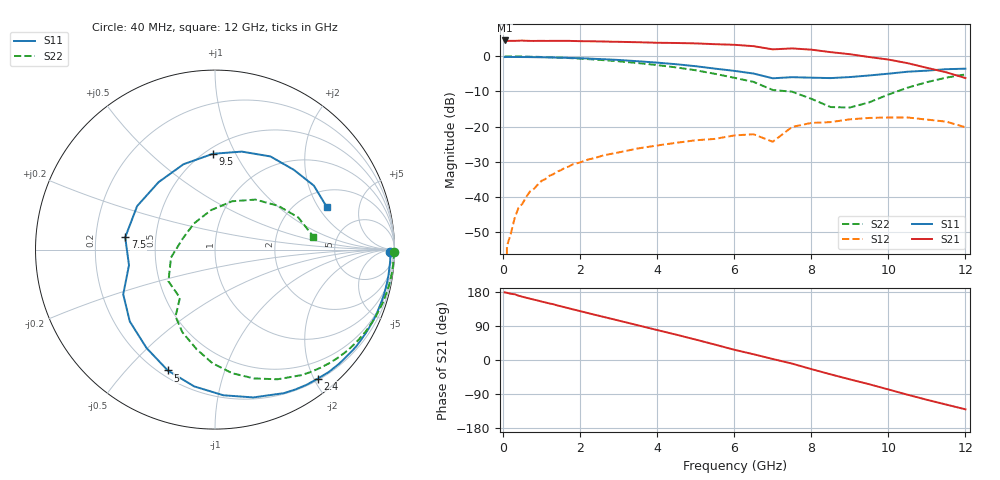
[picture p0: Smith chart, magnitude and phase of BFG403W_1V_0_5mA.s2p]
!BFG403W
! V1=8.245E-001V,V2=1.000E+000V, I1=6.755E-006A, I2=5.000E-004A
# GHz  S  MA  R 50
!  S11  S21  S12  S22
!Freq(GHz)  Mag  Ang  Mag  Ang  Mag  Ang  Mag  Ang
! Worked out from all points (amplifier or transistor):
!   44 points, 40 MHz to 12 GHz, reference 50 ohm
!   highest |S21| = 4.5 dB at 40 MHz (marker M1)
!   |S21| within 3 dB of that: start of sweep to 8.274 GHz
!   S11 on the Smith chart (normalised r, x): 40 MHz: 63, -32; 2.4 GHz: 0.22, -2.06; 5 GHz: 0.23, -0.66; 7.5 GHz: 0.33, +0.06; 9.5 GHz: 0.55, +0.82; 12 GHz: 2.82, +2.39
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0.04  0.975 -0.7  1.68 178.5  0 50.8  0.997 -0.6
0.1  0.978 -2.2  1.656 177.4  0.002 93.3  0.997 -1.9
0.4  0.977 -8.2  1.667 169.7  0.007 83.4  0.994 -7.7
1  0.969 -21.4  1.657 154.3  0.017 73.0  0.977 -19.0
1.5  0.956 -32.1  1.66 141.8  0.024 64.9  0.956 -28.3
2.2  0.931 -47.1  1.636 123.9  0.034 54.3  0.913 -41.2
2.4  0.919 -51.4  1.632 118.9  0.036 51.4  0.898 -44.8
3  0.887 -64.4  1.607 104.1  0.043 43.3  0.849 -55.5
3.5  0.851 -75.4  1.585 91.6  0.049 37.2  0.802 -64.3
4.5  0.771 -98.6  1.546 66.7  0.059 26.5  0.695 -82.1
5  0.723 -111.3  1.526 53.9  0.064 20.8  0.633 -91.3
6  0.621 -139.8  1.458 27.1  0.075 7.8  0.495 -111.5
6.5  0.569 -154.0  1.394 15.2  0.078 8.7  0.433 -120.5
7  0.487 -169.7  1.255 2.6  0.061 7.4  0.332 -126.1
7.5  0.505 172.2  1.295 -9.5  0.099 2.9  0.314 -145.7
8  0.497 150.8  1.243 -24.0  0.113 -10.5  0.249 -169.8
8.5  0.49 129.9  1.147 -37.8  0.116 -21.4  0.19 161.2
9  0.507 110.2  1.071 -51.1  0.127 -30.9  0.187 128.6
9.5  0.534 91.2  0.977 -63.8  0.133 -44.2  0.221 95.8
10.5  0.604 59.3  0.799 -91.7  0.135 -71.1  0.358 51.1
11.5  0.656 32.9  0.593 -117.6  0.118 -100.2  0.497 21.2
12  0.667 20.7  0.491 -130.1  0.098 -118.6  0.553 7.5
